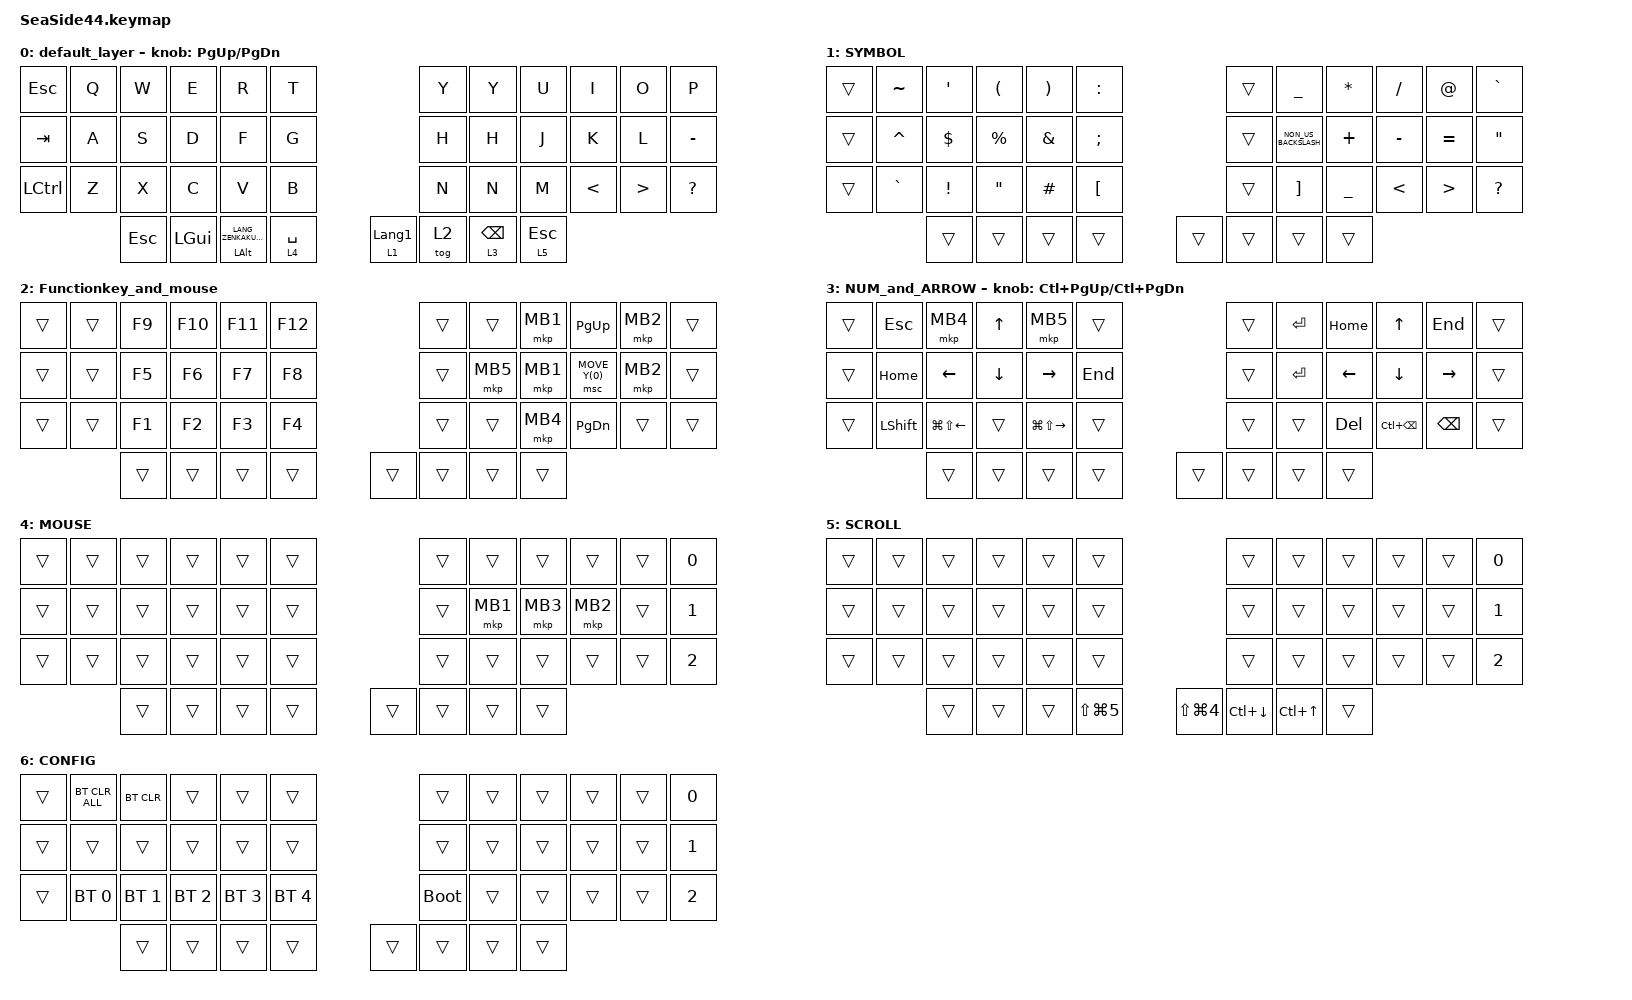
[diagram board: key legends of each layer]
#include <behaviors.dtsi>
#include <dt-bindings/zmk/bt.h>
#include <dt-bindings/zmk/keys.h>
#include <dt-bindings/zmk/pointing.h>

#define MOUSE 4
#define SCROLL 5
#define NUM 6

&mt {
    flavor = "balanced";
    quick-tap-ms = <300>;
};

&lt {
    flavor = "balanced";
    quick-tap-ms = <300>;
};

/ {
    combos { compatible = "zmk,combos"; };

    macros {
        to_layer_0: to_layer_0 {
            compatible = "zmk,behavior-macro-one-param";
            #binding-cells = <1>;
            bindings = <&to 0 &macro_param_1to1 &kp MACRO_PLACEHOLDER>;
            label = "TO_LAYER_0";
        };
    };

    behaviors {
        lt_to_layer_0: lt_to_layer_0 {
            compatible = "zmk,behavior-hold-tap";
            label = "LAYER_TAP_TO_0";
            bindings = <&mo>, <&to_layer_0>;

            #binding-cells = <2>;
            tapping-term-ms = <200>;
        };
    };

    keymap {
        compatible = "zmk,keymap";

        default_layer {
            bindings = <
&kp ESCAPE        &kp Q  &kp W       &kp E         &kp R                             &kp T                                    &kp Y            &kp Y  &kp U         &kp I          &kp O             &kp P
&kp TAB           &kp A  &kp S       &kp D         &kp F                             &kp G                                    &kp H            &kp H  &kp J         &kp K          &kp L             &kp MINUS
&kp LEFT_CONTROL  &kp Z  &kp X       &kp C         &kp V                             &kp B                                    &kp N            &kp N  &kp M         &kp LESS_THAN  &kp GREATER_THAN  &kp QMARK
                         &kp ESCAPE  &kp LEFT_GUI  &mt LEFT_ALT LANG_ZENKAKUHANKAKU  &lt 4 SPACE  &lt 1 LANGUAGE_1    &tog 2  &lt 3 BACKSPACE         &lt 5 ESCAPE
            >;

            sensor-bindings = <&inc_dec_kp PG_UP PAGE_DOWN>;
        };

        SYMBOL {
            bindings = <
&trans  &kp TILDE  &kp SINGLE_QUOTE  &kp LEFT_PARENTHESIS  &kp RIGHT_PARENTHESIS  &kp COLON                           &trans  &kp UNDERSCORE        &kp ASTERISK    &kp SLASH      &kp AT_SIGN       &kp GRAVE
&trans  &kp CARET  &kp DOLLAR        &kp PERCENT           &kp AMPERSAND          &kp SEMICOLON                       &trans  &kp NON_US_BACKSLASH  &kp PLUS        &kp MINUS      &kp EQUAL         &kp DOUBLE_QUOTES
&trans  &kp GRAVE  &kp EXCLAMATION   &kp DOUBLE_QUOTES     &kp HASH               &kp LEFT_BRACKET                    &trans  &kp RIGHT_BRACKET     &kp UNDERSCORE  &kp LESS_THAN  &kp GREATER_THAN  &kp QUESTION
                   &trans            &trans                &trans                 &trans            &trans    &trans  &trans                        &trans
            >;
        };

        Functionkey_and_mouse {
            bindings = <
&trans  &trans  &kp F9  &kp F10  &kp F11  &kp F12                    &trans  &trans    &mkp MB1  &kp PAGE_UP     &mkp MB2  &trans
&trans  &trans  &kp F5  &kp F6   &kp F7   &kp F8                     &trans  &mkp MB5  &mkp MB1  &msc MOVE_Y(0)  &mkp MB2  &trans
&trans  &trans  &kp F1  &kp F2   &kp F3   &kp F4                     &trans  &trans    &mkp MB4  &kp PAGE_DOWN   &trans    &trans
                &trans  &trans   &trans   &trans   &trans    &trans  &trans            &trans
            >;
        };

        NUM_and_ARROW {
            bindings = <
&trans  &kp ESCAPE      &mkp MB4                &kp UP_ARROW    &mkp MB5                 &trans                     &trans  &kp ENTER  &kp HOME        &kp UP_ARROW       &kp END        &trans
&trans  &kp HOME        &kp LEFT_ARROW          &kp DOWN_ARROW  &kp RIGHT_ARROW          &kp END                    &trans  &kp ENTER  &kp LEFT_ARROW  &kp DOWN           &kp RIGHT      &trans
&trans  &kp LEFT_SHIFT  &kp LG(LS(LEFT_ARROW))  &trans          &kp LG(LS(RIGHT_ARROW))  &trans                     &trans  &trans     &kp DELETE      &kp LC(BACKSPACE)  &kp BACKSPACE  &trans
                        &trans                  &trans          &trans                   &trans   &trans    &trans  &trans             &trans
            >;

            sensor-bindings = <&inc_dec_kp LC(PAGE_UP) LC(PAGE_DOWN)>;
        };

        MOUSE {
            bindings = <
&trans  &trans  &trans  &trans  &trans  &trans                    &trans  &trans    &trans    &trans    &trans  &kp N0
&trans  &trans  &trans  &trans  &trans  &trans                    &trans  &mkp MB1  &mkp MB3  &mkp MB2  &trans  &kp N1
&trans  &trans  &trans  &trans  &trans  &trans                    &trans  &trans    &trans    &trans    &trans  &kp N2
                &trans  &trans  &trans  &trans  &trans    &trans  &trans            &trans
            >;
        };

        SCROLL {
            bindings = <
&trans  &trans  &trans  &trans  &trans  &trans                                          &trans            &trans  &trans  &trans  &trans  &kp N0
&trans  &trans  &trans  &trans  &trans  &trans                                          &trans            &trans  &trans  &trans  &trans  &kp N1
&trans  &trans  &trans  &trans  &trans  &trans                                          &trans            &trans  &trans  &trans  &trans  &kp N2
                &trans  &trans  &trans  &kp LS(LG(N5))  &kp LS(LG(N4))    &kp LC(DOWN)  &kp LC(UP_ARROW)          &trans
            >;
        };

        CONFIG {
            bindings = <
&trans  &bt BT_CLR_ALL  &bt BT_CLR    &trans        &trans        &trans                          &trans       &trans  &trans  &trans  &trans  &kp N0
&trans  &trans          &trans        &trans        &trans        &trans                          &trans       &trans  &trans  &trans  &trans  &kp N1
&trans  &bt BT_SEL 0    &bt BT_SEL 1  &bt BT_SEL 2  &bt BT_SEL 3  &bt BT_SEL 4                    &bootloader  &trans  &trans  &trans  &trans  &kp N2
                        &trans        &trans        &trans        &trans        &trans    &trans  &trans               &trans
            >;
        };
    };
};
